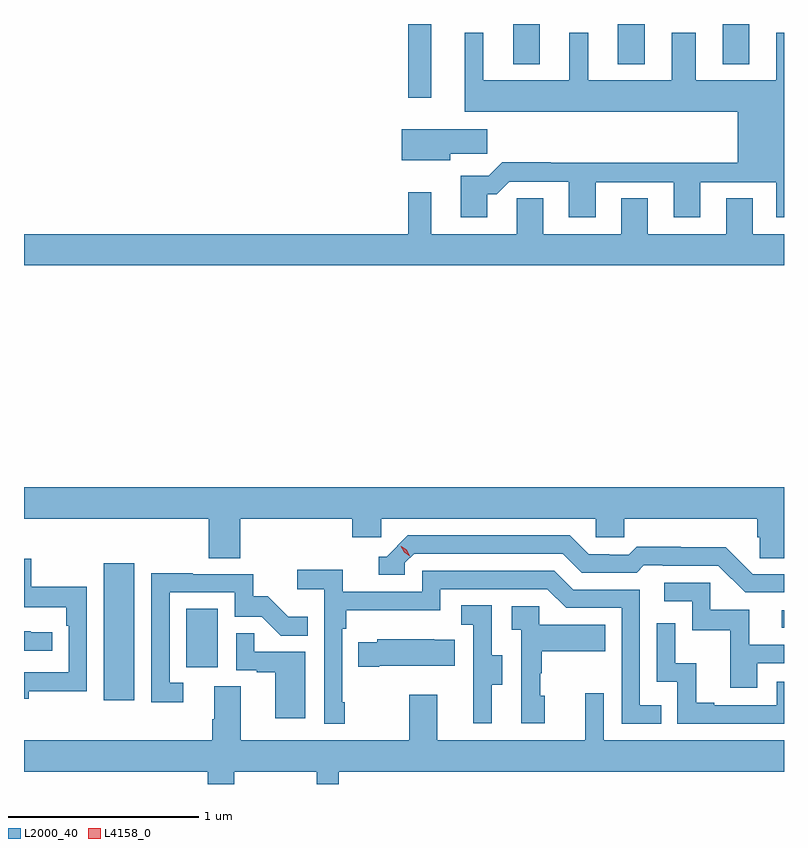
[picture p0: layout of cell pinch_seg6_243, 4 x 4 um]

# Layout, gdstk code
import gdstk
lib = gdstk.Library(unit=1e-6, precision=1e-09)
def R(c, l, rs):  # rectangles x0, y0, x1, y1
    for r in rs: c.add(gdstk.rectangle(r[:2], r[2:], *l))
def A(c, l, x, y, w, h, nx, ny, dx, dy):  # array of equal rectangles
    R(c, l, [(x+i*dx, y+j*dy, x+i*dx+w, y+j*dy+h) for i in range(nx) for j in range(ny)])
def P(c, l, *ps):  # polygons
    for p in ps: c.add(gdstk.Polygon(p, *l))
L2000_40 = (2000, 40)
L4158_0 = (4158, 0)

pinch_seg6_243 = lib.new_cell('pinch_seg6_243')
A(pinch_seg6_243, L2000_40, 1121.195, 921.755, 0.14, 0.212, 3, 1, 0.552, 0)
R(pinch_seg6_243, L2000_40, [(1119.041,918.408,1119.202,919.129), (1119.476,918.582,1119.64,918.889), (1122.609,918.789,1122.621,918.882), (1120.644,921.579,1120.765,921.967)])
P(pinch_seg6_243, L2000_40, [(1121.059,921.071),(1121.108,921.071),(1121.175,921.138),(1121.489,921.138),(1121.489,920.949),(1121.629,920.949),(1121.629,921.135),(1122.041,921.135),(1122.041,920.949),(1122.181,920.949),(1122.181,921.135),(1122.581,921.135),(1122.581,920.949),(1122.621,920.949),(1122.621,921.922),(1122.581,921.922),(1122.581,921.67),(1122.157,921.67),(1122.157,921.922),(1122.029,921.922),(1122.029,921.67),(1121.59,921.67),(1121.59,921.922),(1121.492,921.922),(1121.492,921.67),(1121.038,921.67),(1121.038,921.922),(1120.94,921.922),(1120.94,921.506),(1122.377,921.506),(1122.377,921.236),(1121.393,921.236),(1121.393,921.239),(1121.138,921.239),(1121.068,921.169),(1120.919,921.169),(1120.919,920.949),(1121.059,920.949)],
  [(1120.864,921.283),(1121.059,921.283),(1121.059,921.412),(1120.61,921.412),(1120.61,921.251),(1120.864,921.251)],
  [(1122.621,920.86),(1122.457,920.86),(1122.457,921.05),(1122.317,921.05),(1122.317,920.86),(1121.905,920.86),(1121.905,921.05),(1121.765,921.05),(1121.765,920.86),(1121.353,920.86),(1121.353,921.05),(1121.214,921.05),(1121.214,920.86),(1120.765,920.86),(1120.765,921.082),(1120.644,921.082),(1120.644,920.86),(1118.621,920.86),(1118.621,920.696),(1122.621,920.696)],
  [(1119.758,919.364),(1120.349,919.364),(1120.349,919.266),(1120.5,919.266),(1120.5,919.364),(1121.631,919.364),(1121.631,919.266),(1121.781,919.266),(1121.781,919.364),(1122.479,919.364),(1122.479,919.266),(1122.493,919.266),(1122.493,919.156),(1122.621,919.156),(1122.621,919.528),(1118.621,919.528),(1118.621,919.364),(1119.593,919.364),(1119.593,919.156),(1119.758,919.156)],
  [(1122.621,919.071),(1122.456,919.071),(1122.314,919.213),(1122.078,919.213),(1122.078,919.216),(1121.845,919.216),(1121.803,919.173),(1121.7,919.173),(1121.7,919.176),(1121.593,919.176),(1121.494,919.275),(1120.641,919.275),(1120.53,919.164),(1120.487,919.164),(1120.487,919.068),(1120.626,919.068),(1120.626,919.131),(1120.674,919.179),(1121.457,919.179),(1121.556,919.08),(1121.845,919.08),(1121.884,919.119),(1121.983,919.119),(1121.983,919.116),(1122.276,919.116),(1122.417,918.975),(1122.621,918.975)],
  [(1118.647,918.454),(1118.952,918.454),(1118.952,919.006),(1118.659,919.006),(1118.659,919.152),(1118.621,919.152),(1118.621,918.896),(1118.843,918.896),(1118.843,918.8),(1118.856,918.8),(1118.856,918.555),(1118.621,918.555),(1118.621,918.416),(1118.647,918.416)],
  [(1120.309,918.397),(1120.296,918.397),(1120.296,918.785),(1120.316,918.785),(1120.316,918.881),(1120.812,918.881),(1120.812,918.993),(1121.376,918.993),(1121.475,918.894),(1121.766,918.894),(1121.766,918.285),(1121.975,918.285),(1121.975,918.381),(1121.862,918.381),(1121.862,918.99),(1121.512,918.99),(1121.413,919.089),(1120.716,919.089),(1120.716,918.978),(1120.298,918.978),(1120.298,919.094),(1120.059,919.094),(1120.059,918.992),(1120.2,918.992),(1120.2,918.285),(1120.309,918.285)],
  [(1119.46,918.501),(1119.387,918.501),(1119.387,918.975),(1119.729,918.975),(1119.729,918.846),(1119.873,918.846),(1119.971,918.748),(1120.115,918.748),(1120.115,918.847),(1120.011,918.847),(1119.904,918.954),(1119.828,918.954),(1119.828,919.071),(1119.509,919.071),(1119.509,919.076),(1119.291,919.076),(1119.291,918.396),(1119.46,918.396)],
  [(1122.481,918.603),(1122.621,918.603),(1122.621,918.699),(1122.439,918.699),(1122.439,918.885),(1122.234,918.885),(1122.234,919.026),(1121.991,919.026),(1121.991,918.93),(1122.138,918.93),(1122.138,918.777),(1122.337,918.777),(1122.337,918.474),(1122.481,918.474)],
  [(1121.083,918.49),(1121.137,918.49),(1121.137,918.645),(1121.082,918.645),(1121.082,918.908),(1120.923,918.908),(1120.923,918.805),(1120.986,918.805),(1120.986,918.501),(1120.985,918.501),(1120.985,918.288),(1121.083,918.288)],
  [(1121.362,918.432),(1121.337,918.432),(1121.337,918.551),(1121.347,918.551),(1121.347,918.665),(1121.681,918.665),(1121.681,918.805),(1121.334,918.805),(1121.334,918.903),(1121.187,918.903),(1121.187,918.779),(1121.238,918.779),(1121.238,918.288),(1121.362,918.288)],
  [(1122.621,918.504),(1122.582,918.504),(1122.582,918.381),(1122.253,918.381),(1122.253,918.394),(1122.158,918.394),(1122.158,918.602),(1122.048,918.602),(1122.048,918.814),(1121.952,918.814),(1121.952,918.504),(1122.06,918.504),(1122.06,918.285),(1122.621,918.285)],
  [(1118.77,918.765),(1118.657,918.765),(1118.657,918.77),(1118.621,918.77),(1118.621,918.669),(1118.77,918.669)],
  [(1120.102,918.663),(1119.833,918.663),(1119.833,918.761),(1119.738,918.761),(1119.738,918.567),(1119.845,918.567),(1119.845,918.555),(1119.944,918.555),(1119.944,918.312),(1120.102,918.312)],
  [(1120.492,918.59),(1120.889,918.59),(1120.889,918.727),(1120.781,918.727),(1120.781,918.73),(1120.479,918.73),(1120.479,918.712),(1120.381,918.712),(1120.381,918.583),(1120.492,918.583)],
  [(1119.763,918.482),(1119.623,918.482),(1119.623,918.308),(1119.611,918.308),(1119.611,918.196),(1118.621,918.196),(1118.621,918.032),(1119.587,918.032),(1119.587,917.967),(1119.727,917.967),(1119.727,918.032),(1120.161,918.032),(1120.161,917.967),(1120.277,917.967),(1120.277,918.032),(1122.621,918.032),(1122.621,918.196),(1121.673,918.196),(1121.673,918.445),(1121.576,918.445),(1121.576,918.196),(1120.795,918.196),(1120.795,918.436),(1120.648,918.436),(1120.648,918.196),(1119.763,918.196)])
P(pinch_seg6_243, L4158_0, [(1120.651,919.166),(1120.621,919.186),(1120.605,919.219),(1120.605,919.219),(1120.606,919.219),(1120.636,919.199),(1120.652,919.167),(1120.652,919.166)])

lib.write_gds('pinch_seg6_243.gds')
